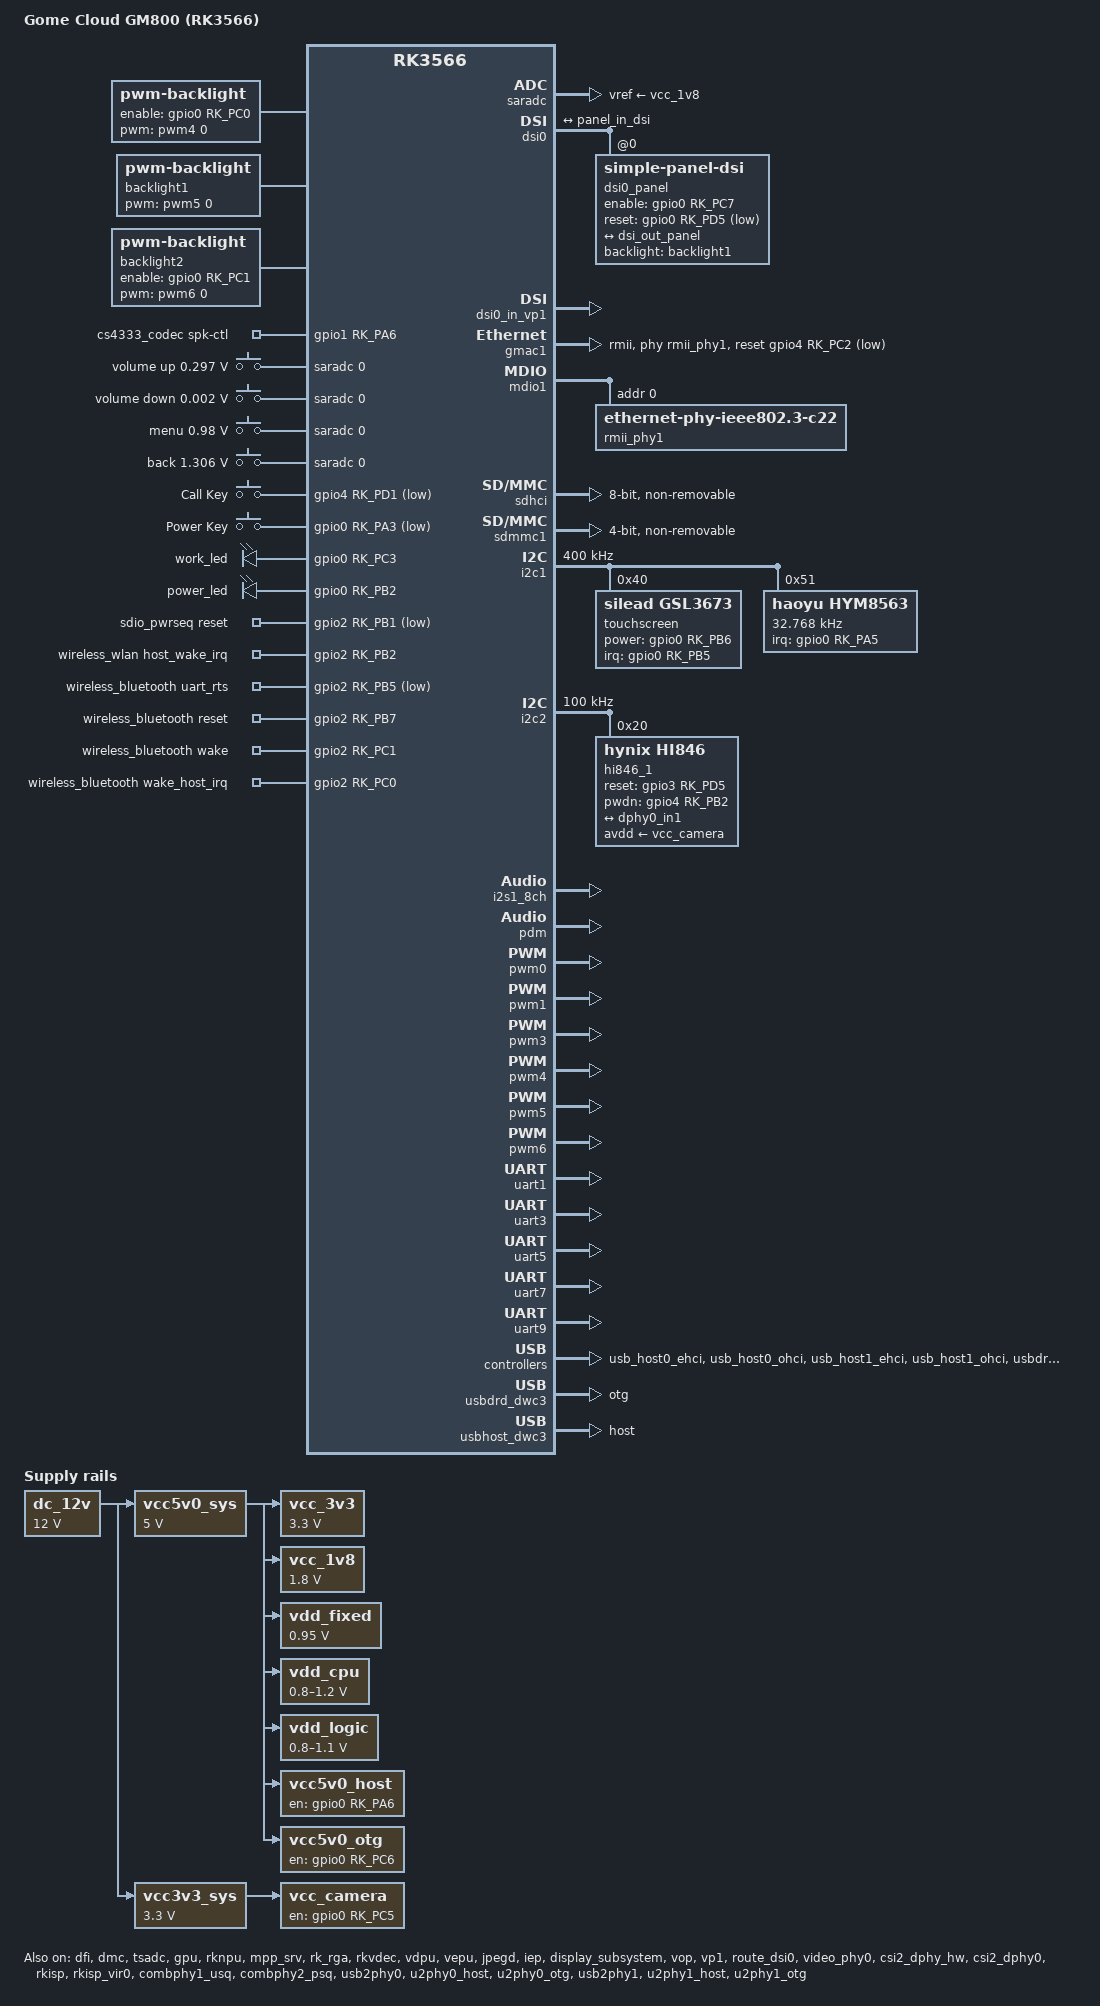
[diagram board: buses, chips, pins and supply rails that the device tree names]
// SPDX-License-Identifier: (GPL-2.0+ OR MIT)
/*
 * Device Tree Source for Gome Cloud GM800 (RK3566, 4GB LPDDR4X, 128GB eMMC)
 * Target: Rockchip Linux 6.1 BSP (rk-6.1-rkr* / develop-6.1)
 *
 * Reverse-engineered and verified pin-for-pin from factory 4.19.219 DTB:
 *   - Discrete power architecture (NO RK809 PMIC!):
 *       vdd_cpu   -> PWM0 (pwm@fdd70000)
 *       vdd_logic -> PWM1 (pwm@fdd70010)
 *       GPU/NPU/DMC -> vdd_fixed (0.95V)
 *       All PMU IO domains -> vcc_3v3 (3.3V)
 *   - 8" 800x1280 MIPI-DSI panel (simple-panel-dsi, 8-byte init sequence)
 *   - Silead GSLx6801 touchscreen on I2C1 @ 0x40 (extracted firmware)
 *   - HYM8563 RTC on I2C1 @ 0x51 (wakeup enabled)
 *   - Hynix HI-846 8MP camera on I2C2 @ 0x20 + CSI2 DPHY0 + RKISP21
 *   - RTL8201F 100M RMII Ethernet on GMAC1
 *   - AIC8800D80 WiFi 6 (SDIO mmc1) + BT 5 (UART1 @ 1.5M flow)
 *   - CS4333 dummy-codec speaker (GPIO1_PA6 amp enable) + 4ch PDM mic array
 *   - Mali-G52 GPU (Panfrost open-source Mesa ready) + RKNPU 0.9.8 + RGA2 + MPP
 *   - GPIO/ADC physical keys + PWM3 IR remote + ramoops@110000 pstore
 */

/dts-v1/;

#include <dt-bindings/gpio/gpio.h>
#include <dt-bindings/input/input.h>
#include <dt-bindings/interrupt-controller/irq.h>
#include <dt-bindings/pinctrl/rockchip.h>
#include <dt-bindings/pwm/pwm.h>
#include <dt-bindings/soc/rockchip,vop2.h>
#include "rk3566.dtsi"

/ {
	model = "Gome Cloud GM800 (RK3566)";
	compatible = "gome,gm800", "rockchip,rk3566";

	aliases {
		/* Keep identical mmc2/ethernet1 numbering as factory 4.19 DTB so existing
		 * initramfs (/dev/mmcblk2p4 BCB, mmcblk2p14 userdata), fstab & GUI work unchanged. */
		ethernet1 = &gmac1;
		mmc0 = &sdmmc0;
		mmc1 = &sdmmc1;
		mmc2 = &sdhci;
	};

	chosen: chosen {
		bootargs = "earlycon=uart8250,mmio32,0xfe660000 console=ttyFIQ0";
	};

	reserved-memory {
		#address-cells = <2>;
		#size-cells = <2>;
		ranges;

		/* Preserves kernel panic/dmesg logs across soft reboot (no UART soldering needed) */
		ramoops: ramoops@110000 {
			compatible = "ramoops";
			reg = <0x0 0x110000 0x0 0xf0000>;
			record-size = <0x20000>;
			console-size = <0x80000>;
			ftrace-size = <0x0>;
			pmsg-size = <0x50000>;
		};
	};

	fiq_debugger: fiq-debugger {
		compatible = "rockchip,fiq-debugger";
		rockchip,serial-id = <2>;
		rockchip,wake-irq = <0>;
		rockchip,irq-mode-enable = <1>;
		rockchip,baudrate = <1500000>;
		interrupts = <GIC_SPI 252 IRQ_TYPE_LEVEL_LOW>;
		pinctrl-names = "default";
		pinctrl-0 = <&uart2m0_xfer>;
		status = "okay";
	};

	/* ===================== Discrete Power Tree (No PMIC) ===================== */

	dc_12v: dc-12v {
		compatible = "regulator-fixed";
		regulator-name = "dc_12v";
		regulator-always-on;
		regulator-boot-on;
		regulator-min-microvolt = <12000000>;
		regulator-max-microvolt = <12000000>;
	};

	vcc5v0_sys: vcc5v0-sys {
		compatible = "regulator-fixed";
		regulator-name = "vcc5v0_sys";
		regulator-always-on;
		regulator-boot-on;
		regulator-min-microvolt = <5000000>;
		regulator-max-microvolt = <5000000>;
		vin-supply = <&dc_12v>;
	};

	vcc3v3_sys: vcc3v3-sys {
		compatible = "regulator-fixed";
		regulator-name = "vcc3v3_sys";
		regulator-always-on;
		regulator-boot-on;
		regulator-min-microvolt = <3300000>;
		regulator-max-microvolt = <3300000>;
		vin-supply = <&dc_12v>;
	};

	vcc_3v3: vcc-3v3 {
		compatible = "regulator-fixed";
		regulator-name = "vcc_3v3";
		regulator-always-on;
		regulator-boot-on;
		regulator-min-microvolt = <3300000>;
		regulator-max-microvolt = <3300000>;
		vin-supply = <&vcc5v0_sys>;
	};

	vcc_1v8: vcc-1v8 {
		compatible = "regulator-fixed";
		regulator-name = "vcc_1v8";
		regulator-always-on;
		regulator-boot-on;
		regulator-min-microvolt = <1800000>;
		regulator-max-microvolt = <1800000>;
		vin-supply = <&vcc5v0_sys>;
	};

	vdd_fixed: vdd-fixed {
		compatible = "regulator-fixed";
		regulator-name = "vdd_fixed";
		regulator-always-on;
		regulator-boot-on;
		regulator-min-microvolt = <950000>;
		regulator-max-microvolt = <950000>;
		vin-supply = <&vcc5v0_sys>;
	};

	vdd_cpu: vdd-cpu {
		compatible = "pwm-regulator";
		pwms = <&pwm0 0 5000 1>;
		regulator-name = "vdd_cpu";
		regulator-min-microvolt = <800000>;
		regulator-max-microvolt = <1200000>;
		regulator-init-microvolt = <950000>;
		regulator-always-on;
		regulator-boot-on;
		regulator-settling-time-up-us = <250>;
		pwm-supply = <&vcc5v0_sys>;
		status = "okay";
	};

	vdd_logic: vdd-logic {
		compatible = "pwm-regulator";
		pwms = <&pwm1 0 5000 1>;
		regulator-name = "vdd_logic";
		regulator-min-microvolt = <800000>;
		regulator-max-microvolt = <1100000>;
		regulator-init-microvolt = <950000>;
		regulator-always-on;
		regulator-boot-on;
		regulator-settling-time-up-us = <250>;
		pwm-supply = <&vcc5v0_sys>;
		status = "okay";
	};

	vcc5v0_host: vcc5v0-host-regulator {
		compatible = "regulator-fixed";
		regulator-name = "vcc5v0_host";
		regulator-boot-on;
		regulator-always-on;
		enable-active-high;
		gpio = <&gpio0 RK_PA6 GPIO_ACTIVE_HIGH>;
		pinctrl-names = "default";
		pinctrl-0 = <&vcc5v0_host_en>;
		vin-supply = <&vcc5v0_sys>;
	};

	vcc5v0_otg: vcc5v0-otg-regulator {
		compatible = "regulator-fixed";
		regulator-name = "vcc5v0_otg";
		enable-active-high;
		gpio = <&gpio0 RK_PC6 GPIO_ACTIVE_HIGH>;
		pinctrl-names = "default";
		pinctrl-0 = <&vcc5v0_otg_en>;
		vin-supply = <&vcc5v0_sys>;
	};

	vcc_camera: vcc-camera-regulator {
		compatible = "regulator-fixed";
		regulator-name = "vcc_camera";
		enable-active-high;
		gpio = <&gpio0 RK_PC5 GPIO_ACTIVE_HIGH>;
		pinctrl-names = "default";
		pinctrl-0 = <&camera_pwr>;
		vin-supply = <&vcc3v3_sys>;
	};

	/* ===================== Backlights (PWM4/5/6) ===================== */

	backlight: backlight {
		compatible = "pwm-backlight";
		pwms = <&pwm4 0 25000 0>;
		brightness-levels = <
			  0  20  20  21  21  22  22  23  23  24  24  25  25  26  26  27
			 27  28  28  29  29  30  30  31  31  32  32  33  33  34  34  35
			 35  36  36  37  37  38  38  39  40  41  42  43  44  45  46  47
			 48  49  50  51  52  53  54  55  56  57  58  59  60  61  62  63
			 64  65  66  67  68  69  70  71  72  73  74  75  76  77  78  79
			 80  81  82  83  84  85  86  87  88  89  90  91  92  93  94  95
			 96  97  98  99 100 101 102 103 104 105 106 107 108 109 110 111
			112 113 114 115 116 117 118 119 120 121 122 123 124 125 126 127
			128 129 130 131 132 133 134 135 136 137 138 139 140 141 142 143
			144 145 146 147 148 149 150 151 152 153 154 155 156 157 158 159
			160 161 162 163 164 165 166 167 168 169 170 171 172 173 174 175
			176 177 178 179 180 181 182 183 184 185 186 187 188 189 190 191
			192 193 194 195 196 197 198 199 200 201 202 203 204 205 206 207
			208 209 210 211 212 213 214 215 216 217 218 219 220 221 222 223
			224 225 226 227 228 229 230 231 232 233 234 235 236 237 238 239
			240 241 242 243 244 245 246 247 248 249 250 251 252 253 254 255
		>;
		default-brightness-level = <200>;
		enable-gpios = <&gpio0 RK_PC0 GPIO_ACTIVE_HIGH>;
	};

	/* Main LCD backlight (verified PWM5 fe6e0010, bl_power 4=off / 0=on) */
	backlight1: backlight1 {
		compatible = "pwm-backlight";
		pwms = <&pwm5 0 25000 0>;
		brightness-levels = <
			  0  20  20  21  21  22  22  23  23  24  24  25  25  26  26  27
			 27  28  28  29  29  30  30  31  31  32  32  33  33  34  34  35
			 35  36  36  37  37  38  38  39  40  41  42  43  44  45  46  47
			 48  49  50  51  52  53  54  55  56  57  58  59  60  61  62  63
			 64  65  66  67  68  69  70  71  72  73  74  75  76  77  78  79
			 80  81  82  83  84  85  86  87  88  89  90  91  92  93  94  95
			 96  97  98  99 100 101 102 103 104 105 106 107 108 109 110 111
			112 113 114 115 116 117 118 119 120 121 122 123 124 125 126 127
			128 129 130 131 132 133 134 135 136 137 138 139 140 141 142 143
			144 145 146 147 148 149 150 151 152 153 154 155 156 157 158 159
			160 161 162 163 164 165 166 167 168 169 170 171 172 173 174 175
			176 177 178 179 180 181 182 183 184 185 186 187 188 189 190 191
			192 193 194 195 196 197 198 199 200 201 202 203 204 205 206 207
			208 209 210 211 212 213 214 215 216 217 218 219 220 221 222 223
			224 225 226 227 228 229 230 231 232 233 234 235 236 237 238 239
			240 241 242 243 244 245 246 247 248 249 250 251 252 253 254 255
		>;
		default-brightness-level = <200>;
	};

	/* Auxiliary PWM6 (factory keeps fixed duty for camera/LED rail; preserved) */
	backlight2: backlight2 {
		compatible = "pwm-backlight";
		pwms = <&pwm6 0 1000000 0>;
		brightness-levels = <255 200 128 64 0>;
		default-brightness-level = <1>;
		enable-gpios = <&gpio0 RK_PC1 GPIO_ACTIVE_HIGH>;
	};

	/* ===================== Audio (CS4333 Speaker + 4ch PDM Mic) ===================== */

	cs4333_codec: cs4333-codec {
		status = "okay";
		compatible = "rockchip,dummy-codec";
		spk-ctl-gpios = <&gpio1 RK_PA6 GPIO_ACTIVE_HIGH>;
		clocks = <&cru 419>;
		clock-names = "mclk";
		assigned-clocks = <&cru 419>, <&cru 422>;
		assigned-clock-rates = <12288000>;
		assigned-clock-parents = <&cru 72>, <&cru 72>;
		pinctrl-names = "default";
		pinctrl-0 = <&i2s1m0_mclk>;
		#sound-dai-cells = <0>;
	};

	multi_dais: multi-dais {
		status = "okay";
		compatible = "rockchip,multi-dais";
		dais = <&pdm>, <&i2s1_8ch>;
		capture,channel-mapping = <2 2>;
		playback,channel-mapping = <0 2>;
		#sound-dai-cells = <0>;
	};

	pdm_mic_array: pdm-mic-array {
		status = "okay";
		compatible = "simple-audio-card";
		simple-audio-card,name = "rockchip,pdm-mic-array";
		simple-audio-card,mclk-fs = <256>;

		simple-audio-card,dai-link@0 {
			format = "i2s";
			cpu {
				sound-dai = <&multi_dais>;
			};
			codec {
				sound-dai = <&cs4333_codec>;
			};
		};
	};

	/* ===================== Physical Keys & LEDs ===================== */

	adc_keys: adc-keys {
		compatible = "adc-keys";
		io-channels = <&saradc 0>;
		io-channel-names = "buttons";
		keyup-threshold-microvolt = <1800000>;
		poll-interval = <100>;

		vol-up-key {
			label = "volume up";
			linux,code = <KEY_VOLUMEUP>;
			press-threshold-microvolt = <297500>;
		};

		vol-down-key {
			label = "volume down";
			linux,code = <KEY_VOLUMEDOWN>;
			press-threshold-microvolt = <1750>;
		};

		menu-key {
			label = "menu";
			linux,code = <KEY_MENU>;
			press-threshold-microvolt = <980000>;
		};

		back-key {
			label = "back";
			linux,code = <KEY_BACK>;
			press-threshold-microvolt = <1305500>;
		};
	};

	gpio_keys: gpio-keys {
		status = "okay";
		compatible = "gpio-keys";
		autorepeat;

		key-call {
			label = "Call Key";
			linux,code = <KEY_F11>;
			gpios = <&gpio4 RK_PD1 GPIO_ACTIVE_LOW>;
			debounce-interval = <2>;
			wakeup-source;
		};
	};

	gpio_keys_polled: gpio-keys-polled {
		status = "okay";
		compatible = "gpio-keys-polled";
		poll-interval = <100>;
		autorepeat;

		key-power {
			label = "Power Key";
			linux,code = <KEY_POWER>;
			gpios = <&gpio0 RK_PA3 GPIO_ACTIVE_LOW>;
			debounce-interval = <2>;
		};
	};

	leds: leds {
		compatible = "gpio-leds";

		work_led: work-led {
			gpios = <&gpio0 RK_PC3 GPIO_ACTIVE_HIGH>;
			linux,default-trigger = "heartbeat";
		};

		power_led: power-led {
			gpios = <&gpio0 RK_PB2 GPIO_ACTIVE_HIGH>;
			default-state = "on";
		};
	};

	/* ===================== Wireless (AIC8800D80 WiFi6 + BT5) ===================== */

	sdio_pwrseq: sdio-pwrseq {
		compatible = "mmc-pwrseq-simple";
		clocks = <&pmucru CLK_RTC_32K>;
		clock-names = "ext_clock";
		pinctrl-names = "default";
		pinctrl-0 = <&wifi_enable_h &wifi_32k>;
		post-power-on-delay-ms = <200>;
		reset-gpios = <&gpio2 RK_PB1 GPIO_ACTIVE_LOW>;
	};

	wireless_wlan: wireless-wlan {
		compatible = "wlan-platdata";
		rockchip,grf = <&grf>;
		wifi_chip_type = "aic8800";
		pinctrl-names = "default";
		pinctrl-0 = <&wifi_host_wake_irq>;
		WIFI,host_wake_irq = <&gpio2 RK_PB2 GPIO_ACTIVE_HIGH>;
		/* Note: Do NOT duplicate WIFI,poweren_gpio here; sdio_pwrseq already
		 * owns gpio2 RK_PB1 (matches factory 4.19 DTB, avoids -EBUSY conflict). */
		status = "okay";
	};

	wireless_bluetooth: wireless-bluetooth {
		compatible = "bluetooth-platdata";
		clocks = <&pmucru CLK_RTC_32K>;
		clock-names = "ext_clock";
		uart_rts_gpios = <&gpio2 RK_PB5 GPIO_ACTIVE_LOW>;
		pinctrl-names = "default", "rts_gpio";
		pinctrl-0 = <&uart1m0_rtsn>;
		pinctrl-1 = <&uart1_gpios>;
		BT,reset_gpio = <&gpio2 RK_PB7 GPIO_ACTIVE_HIGH>;
		BT,wake_gpio = <&gpio2 RK_PC1 GPIO_ACTIVE_HIGH>;
		BT,wake_host_irq = <&gpio2 RK_PC0 GPIO_ACTIVE_HIGH>;
		status = "okay";
	};
};

/* ===================== CPU / DMC / Thermal / IO Domains ===================== */

&cpu0 {
	cpu-supply = <&vdd_cpu>;
};

&dfi {
	status = "okay";
};

&dmc {
	center-supply = <&vdd_fixed>;
	status = "okay";
};

&pmu_io_domains {
	status = "okay";
	pmuio2-supply = <&vcc_3v3>;
	vccio1-supply = <&vcc_3v3>;
	vccio3-supply = <&vcc_3v3>;
	vccio4-supply = <&vcc_3v3>;
	vccio5-supply = <&vcc_3v3>;
	vccio6-supply = <&vcc_3v3>;
	vccio7-supply = <&vcc_3v3>;
};

&saradc {
	vref-supply = <&vcc_1v8>;
	status = "okay";
};

&tsadc {
	rockchip,hw-tshut-mode = <0>;
	rockchip,hw-tshut-polarity = <0>;
	status = "okay";
};

/* ===================== GPU (Panfrost) / NPU (0.9.8) / VPU / RGA2 ===================== */

&gpu {
	/* Matches mainline Panfrost Mesa driver on RK3566/RK3568 */
	compatible = "rockchip,rk3568-mali", "arm,mali-bifrost";
	mali-supply = <&vdd_fixed>;
	status = "okay";
};

&rknpu {
	rknpu-supply = <&vdd_fixed>;
	status = "okay";
};

&rknpu_mmu {
	status = "okay";
};

&mpp_srv {
	status = "okay";
};

&rk_rga {
	status = "okay";
};

&rkvdec {
	status = "okay";
};

&rkvdec_mmu {
	status = "okay";
};

&vdpu {
	status = "okay";
};

&vdpu_mmu {
	status = "okay";
};

&vepu {
	status = "okay";
};

&vepu_mmu {
	status = "okay";
};

&jpegd {
	status = "okay";
};

&jpegd_mmu {
	status = "okay";
};

&iep {
	status = "okay";
};

&iep_mmu {
	status = "okay";
};

/* ===================== Display (VOP2 + MIPI-DSI 800x1280) ===================== */

&display_subsystem {
	memory-region = <&drm_logo>, <&drm_cubic_lut>;
	memory-region-names = "drm-logo", "drm-cubic-lut";
	status = "okay";
};

&vop {
	assigned-clocks = <&cru DCLK_VOP0>, <&cru DCLK_VOP1>;
	assigned-clock-parents = <&pmucru PLL_HPLL>, <&cru PLL_VPLL>;
	status = "okay";
};

&vop_mmu {
	status = "okay";
};

&vp1 {
	status = "okay";
};

&route_dsi0 {
	status = "okay";
	connect = <&vp1_out_dsi0>;
};

&video_phy0 {
	status = "okay";
};

&dsi0 {
	status = "okay";

	dsi0_panel: panel@0 {
		status = "okay";
		compatible = "simple-panel-dsi";
		reg = <0>;
		backlight = <&backlight1>;
		reset-delay-ms = <60>;
		enable-delay-ms = <120>;
		prepare-delay-ms = <60>;
		unprepare-delay-ms = <60>;
		disable-delay-ms = <60>;
		init-delay-ms = <60>;
		dsi,flags = <0xa03>;
		dsi,format = <0>;
		dsi,lanes = <4>;
		panel-init-sequence = [
			39 78 01 11
			39 14 01 29
		];
		panel-exit-sequence = [
			05 00 01 28
			05 00 01 10
		];
		enable-gpios = <&gpio0 RK_PC7 GPIO_ACTIVE_HIGH>;
		reset-gpios = <&gpio0 RK_PD5 GPIO_ACTIVE_LOW>;
		pinctrl-names = "default";
		pinctrl-0 = <&lcd_rst_gpio &lcd_enable_gpio>;

		disp_timings0: display-timings {
			native-mode = <&dsi0_timing0>;
			dsi0_timing0: timing0 {
				clock-frequency = <77886272>;
				hactive = <800>;
				vactive = <1280>;
				hfront-porch = <40>;
				hsync-len = <8>;
				hback-porch = <28>;
				vfront-porch = <180>;
				vsync-len = <8>;
				vback-porch = <38>;
				hsync-active = <0>;
				vsync-active = <0>;
				de-active = <0>;
				pixelclk-active = <0>;
			};
		};

		ports {
			#address-cells = <1>;
			#size-cells = <0>;

			port@0 {
				reg = <0>;
				panel_in_dsi: endpoint {
					remote-endpoint = <&dsi_out_panel>;
				};
			};
		};
	};

	ports {
		#address-cells = <1>;
		#size-cells = <0>;

		port@1 {
			reg = <1>;
			dsi_out_panel: endpoint {
				remote-endpoint = <&panel_in_dsi>;
			};
		};
	};
};

&dsi0_in_vp0 {
	status = "disabled";
};

&dsi0_in_vp1 {
	status = "okay";
};

/* ===================== Ethernet (RTL8201F 100M RMII) ===================== */

&gmac1 {
	phy-mode = "rmii";
	clock_in_out = "input";
	snps,reset-gpio = <&gpio4 RK_PC2 GPIO_ACTIVE_LOW>;
	snps,reset-active-low;
	snps,reset-delays-us = <0 20000 100000>;
	assigned-clocks = <&cru SCLK_GMAC1_RX_TX>, <&cru SCLK_GMAC1>, <&cru CLK_MAC1_OUT>;
	assigned-clock-parents = <&cru SCLK_GMAC1_RMII_SPEED>, <&gmac1_clkin>;
	assigned-clock-rates = <0>, <0>, <25000000>;
	pinctrl-names = "default";
	pinctrl-0 = <&gmac1m0_miim
		     &gmac1m0_clkinout
		     &gmac1m0_tx_bus2
		     &gmac1m0_rx_bus2
		     &gmac1m0_rx_er
		     &eth1m0_pins>;
	phy-handle = <&rmii_phy1>;
	status = "okay";
};

&mdio1 {
	rmii_phy1: phy@0 {
		compatible = "ethernet-phy-ieee802.3-c22";
		reg = <0x0>;
		clocks = <&cru CLK_MAC1_OUT>;
	};
};

/* ===================== Storage & SDIO WiFi ===================== */

&sdhci {
	bus-width = <8>;
	max-frequency = <200000000>;
	non-removable;
	rockchip,txclk-tapnum = <0x8>;
	status = "okay";
};

&sdmmc1 {
	max-frequency = <150000000>;
	supports-sdio;
	bus-width = <4>;
	disable-wp;
	cap-sd-highspeed;
	cap-sdio-irq;
	keep-power-in-suspend;
	mmc-pwrseq = <&sdio_pwrseq>;
	non-removable;
	pinctrl-names = "default";
	pinctrl-0 = <&sdmmc1_bus4 &sdmmc1_cmd &sdmmc1_clk>;
	sd-uhs-sdr104;
	status = "okay";
};

/* ===================== I2C1 (Touchscreen + HYM8563 RTC) ===================== */

&i2c1 {
	clock-frequency = <400000>;
	status = "okay";

	/*
	 * Mainline Silead driver using exact factory firmware extracted to
	 * /lib/firmware/silead/gslx680-gm800.fw (zero Oops on remove/suspend).
	 * Hardware pins verified from factory DTB: IRQ=GPIO0_PB5, RST/PWR=GPIO0_PB6.
	 */
	touchscreen@40 {
		compatible = "silead,gsl3673";
		reg = <0x40>;
		interrupt-parent = <&gpio0>;
		interrupts = <RK_PB5 IRQ_TYPE_LEVEL_LOW>;
		power-gpios = <&gpio0 RK_PB6 GPIO_ACTIVE_HIGH>;
		pinctrl-names = "default";
		pinctrl-0 = <&tp_gpio>;
		touchscreen-size-x = <1280>;
		touchscreen-size-y = <800>;
		silead,max-fingers = <5>;
		firmware-name = "silead/gslx680-gm800.fw";
		status = "okay";
	};

	hym8563: hym8563@51 {
		compatible = "haoyu,hym8563";
		reg = <0x51>;
		#clock-cells = <0>;
		clock-frequency = <32768>;
		interrupt-parent = <&gpio0>;
		interrupts = <RK_PA5 IRQ_TYPE_LEVEL_LOW>;
		pinctrl-names = "default";
		pinctrl-0 = <&rtc_int>;
		wakeup-source;
		status = "okay";
	};
};

/* ===================== I2C2 + CSI2 + RKISP21 (HI-846 8MP Camera) ===================== */

&i2c2 {
	clock-frequency = <100000>;
	pinctrl-names = "default";
	pinctrl-0 = <&i2c2m1_xfer>;
	status = "okay";

	hi846_1: hi846-1@20 {
		compatible = "hynix,hi846";
		reg = <0x20>;
		clocks = <&cru CLK_CIF_OUT>;
		clock-names = "xvclk";
		power-domains = <&power RK3568_PD_VI>;
		pinctrl-names = "rockchip,camera_default";
		pinctrl-0 = <&cif_clk>;
		reset-gpios = <&gpio3 RK_PD5 GPIO_ACTIVE_HIGH>;
		pwdn-gpios = <&gpio4 RK_PB2 GPIO_ACTIVE_HIGH>;
		avdd-supply = <&vcc_camera>;
		rockchip,camera-module-index = <0>;
		rockchip,camera-module-facing = "front";
		rockchip,camera-module-name = "KYT-8648-V1";
		rockchip,camera-module-lens-name = "YG589";
		status = "okay";

		port {
			hi846_out1: endpoint {
				remote-endpoint = <&dphy0_in1>;
				data-lanes = <1 2 3 4>;
			};
		};
	};
};

&csi2_dphy_hw {
	status = "okay";
};

&csi2_dphy0 {
	status = "okay";

	ports {
		#address-cells = <1>;
		#size-cells = <0>;

		port@0 {
			reg = <0>;
			#address-cells = <1>;
			#size-cells = <0>;

			dphy0_in1: endpoint@1 {
				reg = <1>;
				remote-endpoint = <&hi846_out1>;
				data-lanes = <1 2 3 4>;
			};
		};

		port@1 {
			reg = <1>;
			#address-cells = <1>;
			#size-cells = <0>;

			dphy0_out: endpoint@1 {
				reg = <1>;
				remote-endpoint = <&isp0_in>;
			};
		};
	};
};

&rkisp {
	status = "okay";
};

&rkisp_mmu {
	status = "okay";
};

&rkisp_vir0 {
	status = "okay";

	port {
		#address-cells = <1>;
		#size-cells = <0>;

		isp0_in: endpoint@0 {
			reg = <0>;
			remote-endpoint = <&dphy0_out>;
		};
	};
};

/* ===================== Audio Interfaces ===================== */

&i2s1_8ch {
	status = "okay";
	rockchip,clk-trcm = <1>;
	rockchip,no-dmaengine;
	pinctrl-names = "default";
	pinctrl-0 = <&i2s1m0_sclktx &i2s1m0_lrcktx &i2s1m0_sdi0 &i2s1m0_sdo0>;
};

&pdm {
	status = "okay";
	rockchip,no-dmaengine;
	rockchip,path-map = <1 2 3 0>;
	pinctrl-names = "default";
	pinctrl-0 = <&pdmm0_clk1 &pdmm0_sdi1 &pdmm0_sdi2 &pdmm0_sdi3>;
};

/* ===================== PWMs & IR Remote ===================== */

&pwm0 {
	status = "okay";
};

&pwm1 {
	status = "okay";
};

&pwm3 {
	compatible = "rockchip,remotectl-pwm";
	remote_pwm_id = <3>;
	handle_cpu_id = <1>;
	remote_support_psci = <0>;
	pinctrl-names = "default";
	pinctrl-0 = <&pwm3_pins>;
	status = "okay";

	ir_key1 {
		rockchip,usercode = <0xaa55>;
		rockchip,key_table =
			<0xef 59>, <0xfd 60>, <0xfc 61>, <0xfb 62>, <0xfa 63>,
			<0xf9 64>, <0xf8 65>, <0xf7 66>, <0xf6 67>, <0xf5 68>;
	};

	ir_key2 {
		rockchip,usercode = <0xff00>;
		rockchip,key_table =
			<0xf9 102>, <0xbf 158>, <0xfb 139>, <0xaa 232>, <0xb9 103>,
			<0xe9 108>, <0xb8 105>, <0xea 106>, <0xeb 114>, <0xef 115>,
			<0xf7 113>, <0xe7 116>, <0xfc 116>, <0xab 183>, <0xb7 388>,
			<0xe8 388>, <0xf8 184>, <0xaf 185>, <0xee 186>, <0xf3 217>,
			<0xbe 217>;
	};

	ir_key3 {
		rockchip,usercode = <0x1dcc>;
		rockchip,key_table =
			<0xee 232>, <0xf0 158>, <0xf8 103>, <0xbb 108>, <0xef 105>,
			<0xed 106>, <0xfc 102>, <0xf1 115>, <0xfd 114>, <0xb7 217>,
			<0xff 116>, <0xf3 113>, <0xbf 139>, <0xf9 401>, <0xf5 402>,
			<0xb3 388>, <0xbe 2>,   <0xba 3>,   <0xb2 4>,   <0xbd 5>,
			<0xb1 7>,   <0xb0 10>,  <0xb6 11>,  <0xb5 14>;
	};
};

&pwm4 {
	status = "okay";
};

&pwm5 {
	status = "okay";
};

&pwm6 {
	status = "okay";
};

/* ===================== UARTs (BT on UART1 + Aux UARTs) ===================== */

&uart1 {
	status = "okay";
	pinctrl-names = "default";
	pinctrl-0 = <&uart1m0_xfer &uart1m0_ctsn>;
};

&uart3 {
	status = "okay";
	pinctrl-names = "default";
	pinctrl-0 = <&uart3m0_xfer>;
};

&uart5 {
	status = "okay";
	pinctrl-names = "default";
	pinctrl-0 = <&uart5m1_xfer>;
};

&uart7 {
	status = "okay";
	pinctrl-names = "default";
	pinctrl-0 = <&uart7m2_xfer>;
};

&uart9 {
	status = "okay";
	pinctrl-names = "default";
	pinctrl-0 = <&uart9m2_xfer>;
};

/* ===================== USB 2.0 / 3.0 & PHYs ===================== */

&combphy1_usq {
	status = "okay";
};

&combphy2_psq {
	status = "okay";
};

&usb2phy0 {
	status = "okay";
};

&u2phy0_host {
	phy-supply = <&vcc5v0_host>;
	status = "okay";
};

&u2phy0_otg {
	vbus-supply = <&vcc5v0_otg>;
	status = "okay";
};

&usb2phy1 {
	status = "okay";
};

&u2phy1_host {
	phy-supply = <&vcc5v0_host>;
	status = "okay";
};

&u2phy1_otg {
	phy-supply = <&vcc5v0_host>;
	status = "okay";
};

&usb_host0_ehci {
	status = "okay";
};

&usb_host0_ohci {
	status = "okay";
};

&usb_host1_ehci {
	status = "okay";
};

&usb_host1_ohci {
	status = "okay";
};

&usbdrd30 {
	status = "okay";
};

&usbdrd_dwc3 {
	dr_mode = "otg";
	extcon = <&usb2phy0>;
	maximum-speed = "high-speed";
	status = "okay";
};

&usbhost30 {
	status = "okay";
};

&usbhost_dwc3 {
	dr_mode = "host";
	status = "okay";
};

/* ===================== Custom Board Pinctrl ===================== */

&pinctrl {
	cam {
		camera_pwr: camera-pwr {
			rockchip,pins = <0 RK_PC5 RK_FUNC_GPIO &pcfg_pull_none>;
		};
	};

	lcd {
		lcd_rst_gpio: lcd-rst-gpio {
			rockchip,pins = <0 RK_PD5 RK_FUNC_GPIO &pcfg_pull_none>;
		};

		lcd_enable_gpio: lcd-enable-gpio {
			rockchip,pins = <0 RK_PC7 RK_FUNC_GPIO &pcfg_pull_none>;
		};
	};

	rtc {
		rtc_int: rtc-int {
			rockchip,pins = <0 RK_PA5 RK_FUNC_GPIO &pcfg_pull_up>;
		};
	};

	sdio-pwrseq {
		wifi_enable_h: wifi-enable-h {
			rockchip,pins = <2 RK_PB1 RK_FUNC_GPIO &pcfg_pull_none>,
					<0 RK_PB0 RK_FUNC_GPIO &pcfg_pull_none>;
		};

		wifi_32k: wifi-32k {
			rockchip,pins = <2 RK_PC6 1 &pcfg_pull_none>;
		};
	};

	tp {
		tp_gpio: tp-gpio {
			rockchip,pins = <0 RK_PB6 RK_FUNC_GPIO &pcfg_pull_up>,
					<0 RK_PB5 RK_FUNC_GPIO &pcfg_pull_none>;
		};
	};

	usb {
		vcc5v0_host_en: vcc5v0-host-en {
			rockchip,pins = <0 RK_PA6 RK_FUNC_GPIO &pcfg_pull_none>;
		};

		vcc5v0_otg_en: vcc5v0-otg-en {
			rockchip,pins = <0 RK_PC6 RK_FUNC_GPIO &pcfg_pull_none>;
		};
	};

	wireless-wlan {
		wifi_host_wake_irq: wifi-host-wake-irq {
			rockchip,pins = <2 RK_PB2 RK_FUNC_GPIO &pcfg_pull_down>;
		};
	};

	wireless-bluetooth {
		uart1_gpios: uart1-gpios {
			rockchip,pins = <2 RK_PB5 RK_FUNC_GPIO &pcfg_pull_none>;
		};
	};
};
